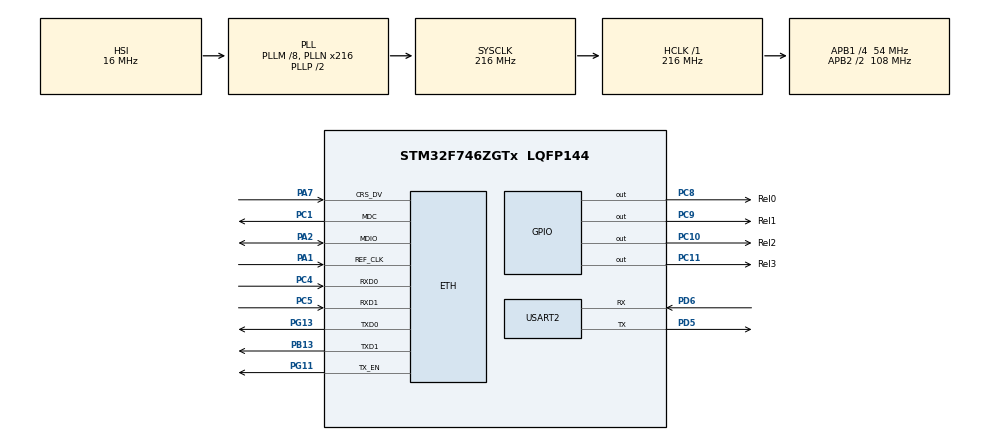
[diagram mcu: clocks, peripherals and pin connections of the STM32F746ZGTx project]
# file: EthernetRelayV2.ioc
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CORTEX_M7.CPU_DCache=Disabled
CORTEX_M7.MPU_Control=__NULL
ETH.MediaInterface=ETH_MEDIA_INTERFACE_RMII
ETH.PhyAddress=0
LWIP.GATEWAY_ADDRESS=192.168.008.001
LWIP.IP_ADDRESS=192.168.008.064
LWIP.LWIP_DHCP=0
LWIP.LWIP_HTTPD=1
LWIP.LWIP_HTTPD_CGI=1
LWIP.LWIP_NETIF_LINK_CALLBACK=1
LWIP.LWIP_NETIF_LOOPBACK=0
LWIP.LWIP_NETIF_STATUS_CALLBACK=0
LWIP.LWIP_UDP=0
LWIP.NETMASK_ADDRESS=255.255.255.000
LWIP.Version=v2.1.2_Cube
Mcu.Family=STM32F7
Mcu.Name=STM32F746ZGTx
Mcu.Package=LQFP144
NVIC.PriorityGroup=NVIC_PRIORITYGROUP_4
PA1.Mode=RMII
PA1.Signal=ETH_REF_CLK
PA2.Mode=RMII
PA2.Signal=ETH_MDIO
PA7.Mode=RMII
PA7.Signal=ETH_CRS_DV
PB13.Mode=RMII
PB13.Signal=ETH_TXD1
PC1.Mode=RMII
PC1.Signal=ETH_MDC
PC10.GPIO_Label=Rel2
PC10.PinState=GPIO_PIN_SET
PC10.Signal=GPIO_Output
PC11.GPIO_Label=Rel3
PC11.PinState=GPIO_PIN_SET
PC11.Signal=GPIO_Output
PC4.Mode=RMII
PC4.Signal=ETH_RXD0
PC5.Mode=RMII
PC5.Signal=ETH_RXD1
PC8.GPIO_Label=Rel0
PC8.PinState=GPIO_PIN_SET
PC8.Signal=GPIO_Output
PC9.GPIO_Label=Rel1
PC9.PinState=GPIO_PIN_SET
PC9.Signal=GPIO_Output
PD5.Mode=Asynchronous
PD5.Signal=USART2_TX
PD6.Mode=Asynchronous
PD6.Signal=USART2_RX
PD8.Signal=USART3_TX
PD9.Signal=USART3_RX
PG11.Mode=RMII
PG11.Signal=ETH_TX_EN
PG13.Mode=RMII
PG13.Signal=ETH_TXD0
ProjectManager.HeapSize=0x800
ProjectManager.StackSize=0x400
ProjectManager.TargetToolchain=STM32CubeIDE
RCC.AHBFreq_Value=216000000
RCC.APB1CLKDivider=RCC_HCLK_DIV4
RCC.APB1Freq_Value=54000000
RCC.APB1TimFreq_Value=108000000
RCC.APB2CLKDivider=RCC_HCLK_DIV2
RCC.APB2Freq_Value=108000000
RCC.APB2TimFreq_Value=216000000
RCC.CortexFreq_Value=216000000
RCC.HCLKFreq_Value=216000000
RCC.HSE_VALUE=25000000
RCC.HSI_VALUE=16000000
RCC.LSE_VALUE=32768
RCC.PLLM=8
RCC.PLLN=216
RCC.SYSCLKFreq_VALUE=216000000
RCC.SYSCLKSource=RCC_SYSCLKSOURCE_PLLCLK
RCC.USBFreq_Value=216000000
RCC.VCOOutputFreq_Value=432000000
USART2.VirtualMode-Asynchronous=VM_ASYNC
VP_LWIP_VS_Enabled.Mode=Enabled
board=custom

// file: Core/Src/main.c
/* USER CODE BEGIN Header */
/**
  ******************************************************************************
  * @file           : main.c
  * @brief          : Main program body
  ******************************************************************************
  * @attention
  *
  * <h2><center>&copy; Copyright (c) 2021 STMicroelectronics.
  * All rights reserved.</center></h2>
  *
  * This software component is licensed by ST under BSD 3-Clause license,
  * the "License"; You may not use this file except in compliance with the
  * License. You may obtain a copy of the License at:
  *                        opensource.org/licenses/BSD-3-Clause
  *
  ******************************************************************************
  */
/* USER CODE END Header */
#include "main.h"
#include "lwip.h"

/* USER CODE BEGIN Includes */

extern struct netif gnetif;
#include <stdio.h>
#include "http_cgi_ssi.h"
#ifdef __GNUC__
/* With GCC/RAISONANCE, small printf (option LD Linker->Libraries->Small printf
   set to 'Yes') calls __io_putchar() */
#define PUTCHAR_PROTOTYPE int __io_putchar(int ch)
#else
#define PUTCHAR_PROTOTYPE int fputc(int ch, FILE *f)
#endif /* __GNUC__ */
/* USER CODE END Includes */

UART_HandleTypeDef huart2;

void SystemClock_Config(void);
static void MX_GPIO_Init(void);
static void MX_USART2_UART_Init(void);
/* USER CODE BEGIN PFP */
static void MPU_Config(void);
/* USER CODE END PFP */

int main(void)
{
  /* USER CODE BEGIN 1 */
	//MPU_Config();
  /* USER CODE END 1 */

  /* MCU Configuration--------------------------------------------------------*/

  /* Reset of all peripherals, Initializes the Flash interface and the Systick. */
  HAL_Init();

  /* Configure the system clock */
  SystemClock_Config();

  /* USER CODE BEGIN SysInit */

  MX_USART2_UART_Init();
  /* USER CODE END SysInit */

  /* Initialize all configured peripherals */
  MX_GPIO_Init();
  MX_LWIP_Init();
  MX_USART2_UART_Init();
  /* USER CODE BEGIN 2 */
  printf("New board running...\n\r");
  http_server_init();
 // http_server_init();
  /* USER CODE END 2 */

  /* Infinite loop */
  /* USER CODE BEGIN WHILE */
  while (1)
  {
	  MX_LWIP_Process();
    /* USER CODE END WHILE */

  }
}

void SystemClock_Config(void)
{
  RCC_OscInitTypeDef RCC_OscInitStruct = {0};
  RCC_ClkInitTypeDef RCC_ClkInitStruct = {0};
  RCC_PeriphCLKInitTypeDef PeriphClkInitStruct = {0};

  /** Configure the main internal regulator output voltage
  */
  __HAL_RCC_PWR_CLK_ENABLE();
  __HAL_PWR_VOLTAGESCALING_CONFIG(PWR_REGULATOR_VOLTAGE_SCALE1);
  /** Initializes the RCC Oscillators according to the specified parameters
  * in the RCC_OscInitTypeDef structure.
  */
  RCC_OscInitStruct.OscillatorType = RCC_OSCILLATORTYPE_HSI;
  RCC_OscInitStruct.HSIState = RCC_HSI_ON;
  RCC_OscInitStruct.HSICalibrationValue = RCC_HSICALIBRATION_DEFAULT;
  RCC_OscInitStruct.PLL.PLLState = RCC_PLL_ON;
  RCC_OscInitStruct.PLL.PLLSource = RCC_PLLSOURCE_HSI;
  RCC_OscInitStruct.PLL.PLLM = 8;
  RCC_OscInitStruct.PLL.PLLN = 216;
  RCC_OscInitStruct.PLL.PLLP = RCC_PLLP_DIV2;
  RCC_OscInitStruct.PLL.PLLQ = 2;
  if (HAL_RCC_OscConfig(&RCC_OscInitStruct) != HAL_OK)
  {
    Error_Handler();
  }
  /** Activate the Over-Drive mode
  */
  if (HAL_PWREx_EnableOverDrive() != HAL_OK)
  {
    Error_Handler();
  }
  /** Initializes the CPU, AHB and APB buses clocks
  */
  RCC_ClkInitStruct.ClockType = RCC_CLOCKTYPE_HCLK|RCC_CLOCKTYPE_SYSCLK
                              |RCC_CLOCKTYPE_PCLK1|RCC_CLOCKTYPE_PCLK2;
  RCC_ClkInitStruct.SYSCLKSource = RCC_SYSCLKSOURCE_PLLCLK;
  RCC_ClkInitStruct.AHBCLKDivider = RCC_SYSCLK_DIV1;
  RCC_ClkInitStruct.APB1CLKDivider = RCC_HCLK_DIV4;
  RCC_ClkInitStruct.APB2CLKDivider = RCC_HCLK_DIV2;

  if (HAL_RCC_ClockConfig(&RCC_ClkInitStruct, FLASH_LATENCY_7) != HAL_OK)
  {
    Error_Handler();
  }
  PeriphClkInitStruct.PeriphClockSelection = RCC_PERIPHCLK_USART2;
  PeriphClkInitStruct.Usart2ClockSelection = RCC_USART2CLKSOURCE_PCLK1;
  if (HAL_RCCEx_PeriphCLKConfig(&PeriphClkInitStruct) != HAL_OK)
  {
    Error_Handler();
  }
}

static void MX_USART2_UART_Init(void)
{

  huart2.Instance = USART2;
  huart2.Init.BaudRate = 115200;
  huart2.Init.WordLength = UART_WORDLENGTH_8B;
  huart2.Init.StopBits = UART_STOPBITS_1;
  huart2.Init.Parity = UART_PARITY_NONE;
  huart2.Init.Mode = UART_MODE_TX_RX;
  huart2.Init.HwFlowCtl = UART_HWCONTROL_NONE;
  huart2.Init.OverSampling = UART_OVERSAMPLING_16;
  huart2.Init.OneBitSampling = UART_ONE_BIT_SAMPLE_DISABLE;
  huart2.AdvancedInit.AdvFeatureInit = UART_ADVFEATURE_NO_INIT;
  if (HAL_UART_Init(&huart2) != HAL_OK)
  {
    Error_Handler();
  }

}

static void MX_GPIO_Init(void)
{
  GPIO_InitTypeDef GPIO_InitStruct = {0};

  /* GPIO Ports Clock Enable */
  __HAL_RCC_GPIOC_CLK_ENABLE();
  __HAL_RCC_GPIOA_CLK_ENABLE();
  __HAL_RCC_GPIOB_CLK_ENABLE();
  __HAL_RCC_GPIOD_CLK_ENABLE();
  __HAL_RCC_GPIOG_CLK_ENABLE();

  /*Configure GPIO pin Output Level */
  HAL_GPIO_WritePin(GPIOC, Rel0_Pin|Rel1_Pin|Rel2_Pin|Rel3_Pin, GPIO_PIN_SET);

  /*Configure GPIO pins : PD8 PD9 */
  GPIO_InitStruct.Pin = GPIO_PIN_8|GPIO_PIN_9;
  GPIO_InitStruct.Mode = GPIO_MODE_AF_PP;
  GPIO_InitStruct.Pull = GPIO_NOPULL;
  GPIO_InitStruct.Speed = GPIO_SPEED_FREQ_VERY_HIGH;
  GPIO_InitStruct.Alternate = GPIO_AF7_USART3;
  HAL_GPIO_Init(GPIOD, &GPIO_InitStruct);

  /*Configure GPIO pins : Rel0_Pin Rel1_Pin Rel2_Pin Rel3_Pin */
  GPIO_InitStruct.Pin = Rel0_Pin|Rel1_Pin|Rel2_Pin|Rel3_Pin;
  GPIO_InitStruct.Mode = GPIO_MODE_OUTPUT_PP;
  GPIO_InitStruct.Pull = GPIO_NOPULL;
  GPIO_InitStruct.Speed = GPIO_SPEED_FREQ_LOW;
  HAL_GPIO_Init(GPIOC, &GPIO_InitStruct);

}

/* USER CODE BEGIN 4 */
PUTCHAR_PROTOTYPE
{
  /* Place your implementation of fputc here */
  /* e.g. write a character to the USART1 and Loop until the end of transmission */
  HAL_UART_Transmit(&huart2, (uint8_t *)&ch, 1, 0xFFFF);

  return ch;
}
static void MPU_Config(void)
{
  MPU_Region_InitTypeDef MPU_InitStruct;

  /* Disable the MPU */
  HAL_MPU_Disable();

  /* Configure the MPU as Normal Non Cacheable for Ethernet Buffers in the SRAM2 */
  MPU_InitStruct.Enable = MPU_REGION_ENABLE;
  MPU_InitStruct.BaseAddress = 0x2004C000;
  MPU_InitStruct.Size = MPU_REGION_SIZE_16KB;
  MPU_InitStruct.AccessPermission = MPU_REGION_FULL_ACCESS;
  MPU_InitStruct.IsBufferable = MPU_ACCESS_NOT_BUFFERABLE;
  MPU_InitStruct.IsCacheable = MPU_ACCESS_NOT_CACHEABLE;
  MPU_InitStruct.IsShareable = MPU_ACCESS_SHAREABLE;
  MPU_InitStruct.Number = MPU_REGION_NUMBER0;
  MPU_InitStruct.TypeExtField = MPU_TEX_LEVEL1;
  MPU_InitStruct.SubRegionDisable = 0x00;
  MPU_InitStruct.DisableExec = MPU_INSTRUCTION_ACCESS_ENABLE;

  HAL_MPU_ConfigRegion(&MPU_InitStruct);

  /* Configure the MPU as Device for Ethernet Descriptors in the SRAM2 */
  MPU_InitStruct.Enable = MPU_REGION_ENABLE;
  MPU_InitStruct.BaseAddress = 0x2004C000;
  MPU_InitStruct.Size = MPU_REGION_SIZE_256B;
  MPU_InitStruct.AccessPermission = MPU_REGION_FULL_ACCESS;
  MPU_InitStruct.IsBufferable = MPU_ACCESS_BUFFERABLE;
  MPU_InitStruct.IsCacheable = MPU_ACCESS_NOT_CACHEABLE;
  MPU_InitStruct.IsShareable = MPU_ACCESS_SHAREABLE;
  MPU_InitStruct.Number = MPU_REGION_NUMBER1;
  MPU_InitStruct.TypeExtField = MPU_TEX_LEVEL0;
  MPU_InitStruct.SubRegionDisable = 0x00;
  MPU_InitStruct.DisableExec = MPU_INSTRUCTION_ACCESS_ENABLE;

  HAL_MPU_ConfigRegion(&MPU_InitStruct);

  /* Enable the MPU */
  HAL_MPU_Enable(MPU_PRIVILEGED_DEFAULT);
}

/* USER CODE END 4 */

void Error_Handler(void)
{
  __disable_irq();
  while (1)
  {
  }
}

/************************ (C) COPYRIGHT STMicroelectronics *****END OF FILE****/
